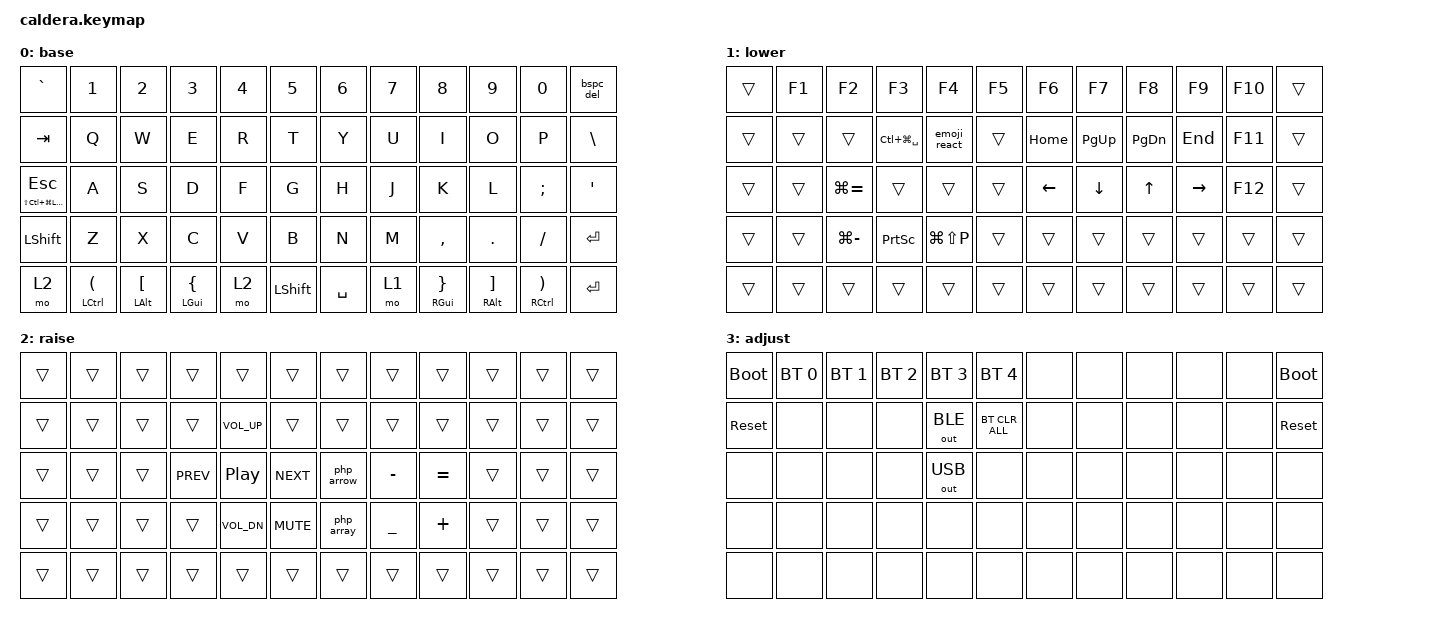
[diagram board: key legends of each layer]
#include <behaviors.dtsi>
#include <dt-bindings/zmk/bt.h>
#include <dt-bindings/zmk/keys.h>
#include <dt-bindings/zmk/outputs.h>

#define HYP LS(LC(LG(LALT)))

&lt {
    quick-tap-ms = <200>;
    flavor = "balanced";
};

&sk {
    quick-release;
    release-after-ms = <400>;
};

&sl { release-after-ms = <400>; };

/ {
    macros {
        php_arrow: php_arrow {
            compatible = "zmk,behavior-macro";
            #binding-cells = <0>;
            bindings = <&kp MINUS &kp GT>;
            label = "PHP_ARROW";
        };

        php_array: php_array {
            compatible = "zmk,behavior-macro";
            #binding-cells = <0>;
            bindings = <&kp EQUAL &kp GT>;
            label = "PHP_ARRAY";
        };

        emoji_react: emoji_react {
            compatible = "zmk,behavior-macro";
            #binding-cells = <0>;
            bindings = <&kp PLUS &kp COLON>;
            label = "EMOJI_REACT";
        };
    };

    behaviors {
        bspc_del: bspc_del {
            compatible = "zmk,behavior-mod-morph";
            label = "BSPC_DEL";
            bindings = <&kp BACKSPACE>, <&kp DEL>;

            #binding-cells = <0>;
            mods = <(MOD_LSFT)>;
        };

        cmt: cmt {
            compatible = "zmk,behavior-hold-tap";
            label = "CMT";
            #binding-cells = <2>;
            bindings = <&kp>, <&kp>;

            tapping-term-ms = <200>;
        };
    };

    keymap {
        compatible = "zmk,keymap";

        base {
            bindings = <
&kp GRAVE      &kp N1           &kp N2              &kp N3              &kp N4  &kp N5       &kp N6     &kp N7  &kp N8               &kp N9               &kp N0           &bspc_del
&kp TAB        &kp Q            &kp W               &kp E               &kp R   &kp T        &kp Y      &kp U   &kp I                &kp O                &kp P            &kp BSLH
&cmt HYP ESC   &kp A            &kp S               &kp D               &kp F   &kp G        &kp H      &kp J   &kp K                &kp L                &kp SEMI         &kp SQT
&kp LSHFT      &kp Z            &kp X               &kp C               &kp V   &kp B        &kp N      &kp M   &kp COMMA            &kp DOT              &kp FSLH         &kp ENTER
&mo 2          &cmt LCTRL LPAR  &cmt LEFT_ALT LBKT  &cmt LEFT_GUI LBRC  &mo 2   &kp LSHFT    &kp SPACE  &mo 1   &cmt RIGHT_GUI RBRC  &cmt RIGHT_ALT RBKT  &cmt RCTRL RPAR  &kp ENTER
            >;
        };

        lower {
            bindings = <
&trans  &kp F1  &kp F2         &kp F3             &kp F4         &kp F5    &kp F6    &kp F7       &kp F8         &kp F9     &kp F10  &trans
&trans  &trans  &trans         &kp LC(LG(SPACE))  &emoji_react   &trans    &kp HOME  &kp PAGE_UP  &kp PAGE_DOWN  &kp END    &kp F11  &trans
&trans  &trans  &kp LG(EQUAL)  &trans             &trans         &trans    &kp LEFT  &kp DOWN     &kp UP         &kp RIGHT  &kp F12  &trans
&trans  &trans  &kp LG(MINUS)  &kp PRINTSCREEN    &kp LG(LS(P))  &trans    &trans    &trans       &trans         &trans     &trans   &trans
&trans  &trans  &trans         &trans             &trans         &trans    &trans    &trans       &trans         &trans     &trans   &trans
            >;
        };

        raise {
            bindings = <
&trans  &trans  &trans  &trans      &trans            &trans        &trans      &trans     &trans     &trans  &trans  &trans
&trans  &trans  &trans  &trans      &kp C_VOL_UP      &trans        &trans      &trans     &trans     &trans  &trans  &trans
&trans  &trans  &trans  &kp C_PREV  &kp C_PLAY_PAUSE  &kp C_NEXT    &php_arrow  &kp MINUS  &kp EQUAL  &trans  &trans  &trans
&trans  &trans  &trans  &trans      &kp C_VOL_DN      &kp K_MUTE    &php_array  &kp UNDER  &kp PLUS   &trans  &trans  &trans
&trans  &trans  &trans  &trans      &trans            &trans        &trans      &trans     &trans     &trans  &trans  &trans
            >;
        };

        adjust {
            bindings = <
&bootloader  &bt BT_SEL 0  &bt BT_SEL 1  &bt BT_SEL 2  &bt BT_SEL 3  &bt BT_SEL 4      &none  &none  &none  &none  &none  &bootloader
&sys_reset   &none         &none         &none         &out OUT_BLE  &bt BT_CLR_ALL    &none  &none  &none  &none  &none  &sys_reset
&none        &none         &none         &none         &out OUT_USB  &none             &none  &none  &none  &none  &none  &none
&none        &none         &none         &none         &none         &none             &none  &none  &none  &none  &none  &none
&none        &none         &none         &none         &none         &none             &none  &none  &none  &none  &none  &none
            >;
        };
    };

    conditional_layers {
        compatible = "zmk,conditional-layers";

        adjust_layer {
            if-layers = <1 2>;
            then-layer = <3>;
        };
    };
};

// vi: ft=dts textwidth=0 noautoindent
